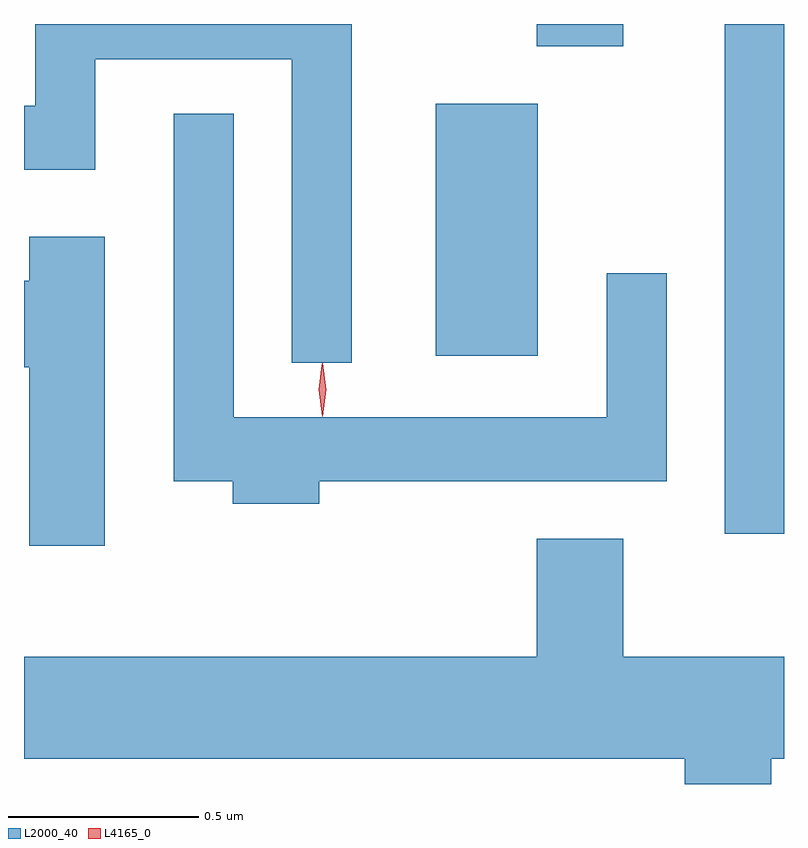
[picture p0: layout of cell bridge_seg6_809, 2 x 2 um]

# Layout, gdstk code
import gdstk
lib = gdstk.Library(unit=1e-6, precision=1e-09)
def R(c, l, rs):  # rectangles x0, y0, x1, y1
    for r in rs: c.add(gdstk.rectangle(r[:2], r[2:], *l))
def P(c, l, *ps):  # polygons
    for p in ps: c.add(gdstk.Polygon(p, *l))
L2000_40 = (2000, 40)
L4165_0 = (4165, 0)

bridge_seg6_809 = lib.new_cell('bridge_seg6_809')
R(bridge_seg6_809, L2000_40, [(501.656,1592.808,501.812,1594.149), (500.896,1593.276,501.164,1593.939), (501.161,1594.091,501.389,1594.149)])
P(bridge_seg6_809, L2000_40, [(500.674,1594.149),(499.841,1594.149),(499.841,1593.934),(499.812,1593.934),(499.812,1593.766),(499.999,1593.766),(499.999,1594.056),(500.516,1594.056),(500.516,1593.258),(500.674,1593.258)],
  [(500.589,1592.946),(501.504,1592.946),(501.504,1593.493),(501.346,1593.493),(501.346,1593.114),(500.364,1593.114),(500.364,1593.913),(500.206,1593.913),(500.206,1592.946),(500.361,1592.946),(500.361,1592.886),(500.589,1592.886)],
  [(500.024,1593.589),(499.826,1593.589),(499.826,1593.474),(499.812,1593.474),(499.812,1593.246),(499.826,1593.246),(499.826,1592.776),(500.024,1592.776)],
  [(501.779,1592.216),(501.812,1592.216),(501.812,1592.484),(501.389,1592.484),(501.389,1592.794),(501.161,1592.794),(501.161,1592.484),(499.812,1592.484),(499.812,1592.216),(501.551,1592.216),(501.551,1592.149),(501.779,1592.149)])
P(bridge_seg6_809, L4165_0, [(500.597,1593.117),(500.597,1593.117),(500.587,1593.187),(500.597,1593.256),(500.597,1593.256),(500.598,1593.256),(500.607,1593.187),(500.598,1593.117)],
  [(500.597,1593.119),(500.597,1593.12),(500.587,1593.186),(500.596,1593.252),(500.597,1593.253),(500.597,1593.252),(500.607,1593.186),(500.598,1593.12)])

lib.write_gds('bridge_seg6_809.gds')
